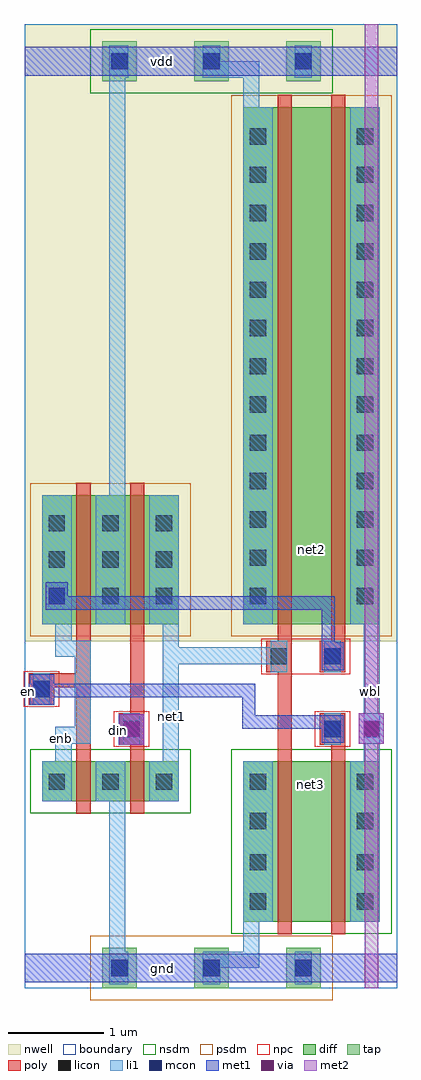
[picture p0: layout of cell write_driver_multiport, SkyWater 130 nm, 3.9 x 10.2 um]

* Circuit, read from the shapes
.subckt write_driver_multiport din en enb gnd net1 net2 net3 vdd wbl
XM1 gnd en enb gnd sky130_fd_pr__nfet_01v8 w=0.42 l=0.15
XM2 net1 din gnd gnd sky130_fd_pr__nfet_01v8 w=0.42 l=0.15
XM3 net3 net1 gnd gnd sky130_fd_pr__nfet_01v8 w=1.68 l=0.15
XM4 wbl en net3 gnd sky130_fd_pr__nfet_01v8 w=1.68 l=0.15
XM5 vdd en enb vdd sky130_fd_pr__pfet_01v8 w=1.35 l=0.15
XM6 net1 din vdd vdd sky130_fd_pr__pfet_01v8 w=1.35 l=0.15
XM7 net2 net1 vdd vdd sky130_fd_pr__pfet_01v8 w=5.4 l=0.15
XM8 wbl enb net2 vdd sky130_fd_pr__pfet_01v8 w=5.4 l=0.15
.ends

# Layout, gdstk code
import gdstk
lib = gdstk.Library(unit=1e-6, precision=1e-09)
def R(c, l, rs):  # rectangles x0, y0, x1, y1
    for r in rs: c.add(gdstk.rectangle(r[:2], r[2:], *l))
def A(c, l, x, y, w, h, nx, ny, dx, dy):  # array of equal rectangles
    R(c, l, [(x+i*dx, y+j*dy, x+i*dx+w, y+j*dy+h) for i in range(nx) for j in range(ny)])
nwell = (64, 20)
diff = (65, 20)
tap = (65, 44)
poly = (66, 20)
licon = (66, 44)
li1 = (67, 20)
mcon = (67, 44)
met1 = (68, 20)
via = (68, 44)
met2 = (69, 20)
nsdm = (93, 44)
psdm = (94, 20)
npc = (95, 20)
boundary = (235, 4)

write_driver_multiport = lib.new_cell('write_driver_multiport')
R(write_driver_multiport, nwell, [(0,3.62,3.89,10.07)])
R(write_driver_multiport, diff, [(2.28,0.69,3.71,2.37), (0.18,1.95,1.61,2.37), (0.18,3.8,1.61,5.15), (2.28,3.8,3.71,9.2)])
A(write_driver_multiport, tap, 0.81, 0, 0.36, 0.42, 3, 2, 0.96, 9.47)
R(write_driver_multiport, poly, [(2.64,0.56,2.79,3.3), (3.2,0.56,3.35,2.54), (0.54,1.82,0.69,3.14), (1.1,1.82,1.25,2.54), (0.98,2.54,1.25,2.87), (3.08,2.54,3.35,2.87), (1.1,2.87,1.25,5.28), (0.04,2.96,0.31,3.14), (0.04,3.14,0.69,3.29), (0.54,3.29,0.69,5.28), (2.52,3.3,2.79,3.63), (3.08,3.3,3.35,3.63), (2.64,3.63,2.79,9.33), (3.2,3.63,3.35,9.33)])
A(write_driver_multiport, licon, 0.905, 0.125, 0.17, 0.17, 3, 2, 0.96, 9.47)
A(write_driver_multiport, licon, 0.25, 2.07, 0.17, 0.17, 3, 2, 0.56, 1.94)
A(write_driver_multiport, licon, 2.35, 4.01, 0.17, 0.17, 1, 13, 0, 0.4)
A(write_driver_multiport, licon, 3.47, 4.01, 0.17, 0.17, 1, 13, 0, 0.4)
A(write_driver_multiport, licon, 0.25, 4.39, 0.17, 0.17, 3, 2, 0.56, 0.38)
R(write_driver_multiport, licon, [(2.35,0.82,2.52,0.99), (3.47,0.82,3.64,0.99), (2.35,1.23,2.52,1.4), (3.47,1.23,3.64,1.4), (2.35,1.66,2.52,1.83), (3.47,1.66,3.64,1.83), (2.35,2.07,2.52,2.24), (3.47,2.07,3.64,2.24), (1.03,2.62,1.2,2.79), (3.13,2.62,3.3,2.79), (0.09,3.04,0.26,3.21), (2.57,3.38,2.74,3.55), (3.13,3.38,3.3,3.55)])
A(write_driver_multiport, li1, 0.18, 1.95, 0.31, 0.42, 3, 1, 0.56, 0)
A(write_driver_multiport, li1, 0.18, 3.8, 0.31, 1.35, 3, 1, 0.56, 0)
R(write_driver_multiport, li1, [(0.88,0.04,1.08,0.38), (1.86,0.04,2.04,0.21), (2.82,0.04,3,0.38), (1.86,0.21,2.45,0.38), (0.88,0.38,1.05,1.95), (2.28,0.38,2.45,0.69), (2.28,0.69,2.59,2.37), (3.4,0.69,3.71,2.37), (0.32,2.37,0.49,2.55), (1.44,2.37,1.61,3.38), (3.54,2.37,3.71,3.8), (1.03,2.54,1.2,2.87), (3.13,2.54,3.3,2.87), (0.32,2.55,0.69,2.73), (0.52,2.73,0.69,3.46), (0.09,2.96,0.26,3.29), (2.57,3.3,2.74,3.38), (3.13,3.3,3.3,3.63), (1.44,3.38,2.74,3.56), (0.32,3.46,0.69,3.63), (1.44,3.56,1.61,3.8), (2.57,3.56,2.74,3.63), (0.32,3.63,0.49,3.8), (2.28,3.8,2.59,9.2), (3.4,3.8,3.71,9.2), (0.88,5.15,1.05,9.51), (2.28,9.2,2.45,9.51), (0.88,9.51,1.08,9.85), (1.86,9.51,2.45,9.68), (2.82,9.51,3,9.85), (1.86,9.68,2.04,9.85)])
A(write_driver_multiport, mcon, 0.905, 0.125, 0.17, 0.17, 3, 2, 0.96, 9.47)
R(write_driver_multiport, mcon, [(1.03,2.62,1.2,2.79), (3.13,2.62,3.3,2.79), (3.54,2.62,3.71,2.79), (0.09,3.04,0.26,3.21), (3.13,3.38,3.3,3.55), (0.25,4.01,0.42,4.18)])
R(write_driver_multiport, met1, [(0,0.06,3.89,0.36), (0.98,2.54,1.25,2.86), (3.49,2.55,3.75,2.87), (3.1,2.56,3.33,2.71), (2.27,2.71,3.33,2.85), (2.27,2.85,2.41,3.04), (0.05,2.96,0.31,3.04), (0.04,3.04,2.41,3.18), (0.05,3.18,0.31,3.28), (3.1,3.32,3.33,3.61), (3.1,3.61,3.24,3.95), (0.22,3.95,3.24,4.09), (0.22,4.09,0.45,4.24), (0,9.53,3.89,9.83)])
R(write_driver_multiport, via, [(1.045,2.625,1.195,2.775), (3.545,2.635,3.695,2.785)])
R(write_driver_multiport, met2, [(3.55,0,3.69,2.55), (0.99,2.54,1.25,2.62), (3.49,2.55,3.75,2.87), (0.98,2.62,1.25,2.76), (0.99,2.76,1.25,2.86), (3.55,2.87,3.69,10.07)])
R(write_driver_multiport, nsdm, [(2.155,0.565,3.835,2.495), (0.055,1.825,1.735,2.495), (0.685,9.345,3.215,10.015)])
R(write_driver_multiport, psdm, [(0.685,-0.125,3.215,0.545), (0.055,3.675,1.735,5.275), (2.155,3.675,3.835,9.325)])
R(write_driver_multiport, npc, [(0.93,2.52,1.3,2.89), (3.03,2.52,3.4,2.89), (-0.01,2.94,0.36,3.31), (2.47,3.28,3.4,3.65)])
R(write_driver_multiport, boundary, [(0,0,3.89,10.07)])
write_driver_multiport.add(gdstk.Label('enb', (0.38,2.61), layer=67, texttype=16))
write_driver_multiport.add(gdstk.Label('net1', (1.53,2.84), layer=67, texttype=16))
write_driver_multiport.add(gdstk.Label('net3', (2.98,2.13), layer=65, texttype=20))
write_driver_multiport.add(gdstk.Label('net2', (3,4.58), layer=65, texttype=20))
write_driver_multiport.add(gdstk.Label('din', (0.98,2.69), layer=69, texttype=5))
write_driver_multiport.add(gdstk.Label('vdd', (1.44,9.68), layer=68, texttype=5))
write_driver_multiport.add(gdstk.Label('gnd', (1.44,0.2), layer=68, texttype=5))
write_driver_multiport.add(gdstk.Label('en', (0.04,3.1), layer=68, texttype=5))
write_driver_multiport.add(gdstk.Label('wbl', (3.61,3.1), layer=69, texttype=5))

lib.write_gds('write_driver_multiport.gds')
